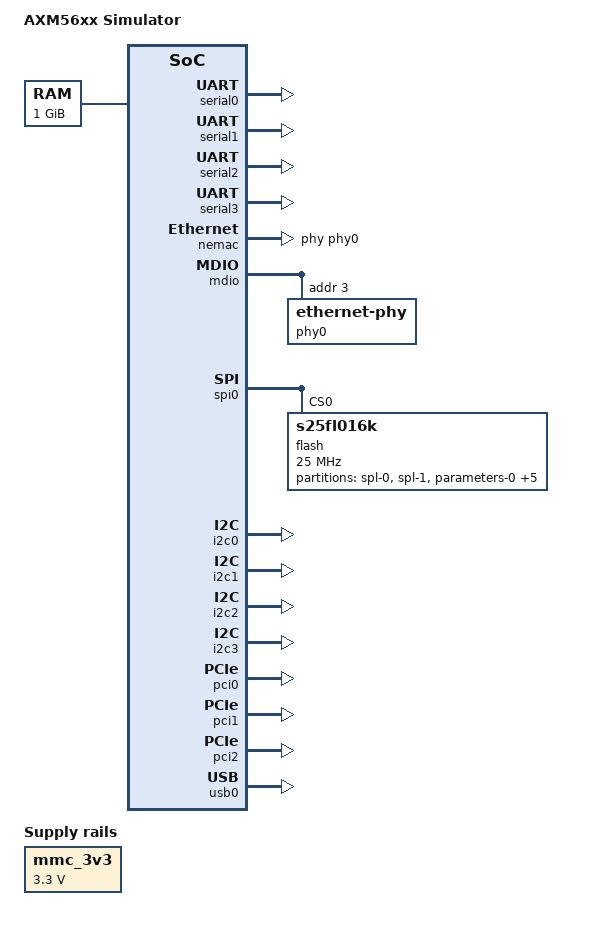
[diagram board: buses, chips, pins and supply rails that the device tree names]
/*
 * arch/arm64/boot/dts/intel/axm5608-sim.dts
 *
 * Copyright (C) 2013 Intel
 *
 * This program is free software; you can redistribute it and/or modify
 * it under the terms of the GNU General Public License as published by
 * the Free Software Foundation; either version 2 of the License, or
 * (at your option) any later version.
 */

/dts-v1/;

#include "axm56xx.dtsi"
#include "axm5608-cpus.dtsi"

/ {
	model = "AXM56xx Simulator";
	compatible = "lsi,axm5616";

	memory {
		device_type = "memory";
		reg = <0 0x00000000 0 0x40000000>;
	};

	mmc_3v3: fixedregulator@0 {
		compatible = "regulator-fixed";
		regulator-name = "3V3";
		regulator-min-microvolt = <3300000>;
		regulator-max-microvolt = <3300000>;
		regulator-always-on;
	};

	soc {
		virtio_block@8021000000 {
			compatible = "virtio,mmio";
			reg = <0x80 0x21000000 0 0x10000>;
			interrupts = <GIC_SPI 279 IRQ_TYPE_LEVEL_HIGH>;
		};

		vmfs@8021010000 {
			compatible = "arm,messagebox";
			reg = <0x80 0x21010000 0 0x1000>;
			interrupts = <GIC_SPI 278 IRQ_TYPE_LEVEL_HIGH>;
		};
	};
};

&serial0 {
	status = "okay";
};

&serial1 {
	status = "okay";
};

&serial2 {
	status = "okay";
};

&serial3 {
	status = "okay";
};

&nemac {
	status = "okay";
	phy-handle = <&phy0>;
};

&mdio {
	status = "okay";
	lsi,mdio-clk-offset = <0x5>;
	lsi,mdio-clk-period = <0xc>;
	max-speed = <10>;

	phy0: ethernet-phy@3 {
		reg = <0x3>;
	};
};

&gpio0 {
	status = "okay";
};

&gpio1 {
	status = "okay";
};

&spi0 {
	status = "okay";

	flash@0 {
		#address-cells = <1>;
		#size-cells = <1>;
		compatible = "s25fl016k";
		reg = <0>;
		spi-max-frequency = <25000000>;
		pl022,com-mode = <1>;

		partition@0 {
			label = "spl-0";
			reg = <0x0 0x40000>;
		};
		partition@40000 {
			label = "spl-1";
			reg = <0x40000 0x40000>;
		};
		partition@80000 {
			label = "parameters-0";
			reg = <0x80000 0x10000>;
		};
		partition@90000 {
			label = "parameters-1";
			reg = <0x90000 0x10000>;
		};
		partition@a0000 {
			label = "env-0";
			reg = <0xa0000 0x10000>;
		};
		partition@b0000 {
			label = "env-1";
			reg = <0xb0000 0x10000>;
		};
		partition@100000 {
			label = "u-boot-0";
			reg = <0x100000 0x200000>;
		};
		partition@300000 {
			label = "u-boot-1";
			reg = <0x300000 0x200000>;
		};
	};
};

&i2c0 {
	status = "okay";
};

&i2c1 {
	status = "okay";
};

&i2c2 {
	status = "okay";
};

&i2c3 {
	status = "okay";
};

&gpdma0 {
	status = "okay";
};

&gpdma1 {
	status = "okay";
};
&pci0 {

	status = "okay";
};

&pci1 {
	status = "okay";
};

&pci2 {
	status = "okay";
};

&usb0 {
	status = "okay";
};
